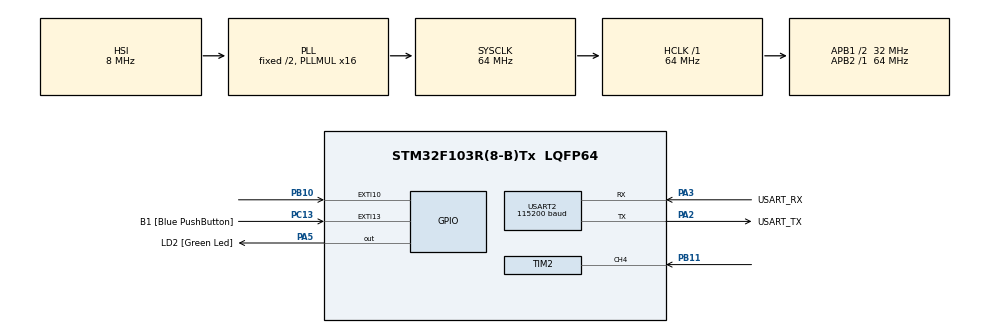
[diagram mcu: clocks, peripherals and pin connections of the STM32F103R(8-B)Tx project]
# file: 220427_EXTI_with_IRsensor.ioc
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Mcu.Family=STM32F1
Mcu.Name=STM32F103R(8-B)Tx
Mcu.Package=LQFP64
NVIC.EXTI15_10_IRQn=true\:0\:0\:false\:false\:true\:true\:true\:true
NVIC.PriorityGroup=NVIC_PRIORITYGROUP_4
NVIC.TIM2_IRQn=true\:0\:0\:false\:false\:true\:true\:true\:true
PA13.GPIO_Label=TMS
PA13.Mode=Serial_Wire
PA13.Signal=SYS_JTMS-SWDIO
PA14.GPIO_Label=TCK
PA14.Mode=Serial_Wire
PA14.Signal=SYS_JTCK-SWCLK
PA2.GPIO_Label=USART_TX
PA2.GPIO_Mode=GPIO_MODE_AF_PP
PA2.GPIO_PuPd=GPIO_NOPULL
PA2.GPIO_Speed=GPIO_SPEED_FREQ_LOW
PA2.Mode=Asynchronous
PA2.Signal=USART2_TX
PA3.GPIO_Label=USART_RX
PA3.GPIO_Mode=GPIO_MODE_AF_PP
PA3.GPIO_PuPd=GPIO_NOPULL
PA3.GPIO_Speed=GPIO_SPEED_FREQ_LOW
PA3.Mode=Asynchronous
PA3.Signal=USART2_RX
PA5.GPIO_Label=LD2 [Green Led]
PA5.GPIO_ModeDefaultOutputPP=GPIO_MODE_OUTPUT_PP
PA5.GPIO_PuPd=GPIO_NOPULL
PA5.GPIO_Speed=GPIO_SPEED_FREQ_LOW
PA5.Signal=GPIO_Output
PB10.GPIO_ModeDefaultEXTI=GPIO_MODE_IT_FALLING
PB10.Signal=GPXTI10
PB11.Signal=S_TIM2_CH4
PB3.GPIO_Label=SWO
PB3.Signal=SYS_JTDO-TRACESWO
PC13-TAMPER-RTC.GPIO_Label=B1 [Blue PushButton]
PC13-TAMPER-RTC.GPIO_PuPd=GPIO_NOPULL
PC13-TAMPER-RTC.Signal=GPXTI13
PC14-OSC32_IN.Mode=LSE-External-Oscillator
PC14-OSC32_IN.Signal=RCC_OSC32_IN
PC15-OSC32_OUT.Mode=LSE-External-Oscillator
PC15-OSC32_OUT.Signal=RCC_OSC32_OUT
PD0-OSC_IN.Mode=HSE-External-Clock-Source
PD0-OSC_IN.Signal=RCC_OSC_IN
PD1-OSC_OUT.Mode=HSE-External-Clock-Source
PD1-OSC_OUT.Signal=RCC_OSC_OUT
ProjectManager.HeapSize=0x200
ProjectManager.StackSize=0x400
ProjectManager.TargetToolchain=STM32CubeIDE
RCC.AHBFreq_Value=64000000
RCC.APB1CLKDivider=RCC_HCLK_DIV2
RCC.APB1Freq_Value=32000000
RCC.APB1TimFreq_Value=64000000
RCC.APB2Freq_Value=64000000
RCC.APB2TimFreq_Value=64000000
RCC.HCLKFreq_Value=64000000
RCC.PLLMUL=RCC_PLL_MUL16
RCC.RTCClockSelection=RCC_RTCCLKSOURCE_LSE
RCC.SYSCLKFreq_VALUE=64000000
RCC.SYSCLKSource=RCC_SYSCLKSOURCE_PLLCLK
RCC.USBFreq_Value=64000000
SH.S_TIM2_CH4.0=TIM2_CH4,Input_Capture4_from_TI4
TIM2.Channel-Input_Capture4_from_TI4=TIM_CHANNEL_4
TIM2.ICPolarity_CH4=TIM_INPUTCHANNELPOLARITY_FALLING
TIM2.Period=40000-1
TIM2.Prescaler=64-1
USART2.BaudRate=115200
USART2.VirtualMode=VM_ASYNC
board=NUCLEO-F103RB

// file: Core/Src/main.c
/* USER CODE BEGIN Header */
/**
  ******************************************************************************
  * @file           : main.c
  * @brief          : Main program body
  ******************************************************************************
  * @attention
  *
  * Copyright (c) 2022 STMicroelectronics.
  * All rights reserved.
  *
  * This software is licensed under terms that can be found in the LICENSE file
  * in the root directory of this software component.
  * If no LICENSE file comes with this software, it is provided AS-IS.
  *
  ******************************************************************************
  */
/* USER CODE END Header */
#include "main.h"

/* USER CODE BEGIN PTD */
#ifdef __GNUC__
/* With GCC, small printf (option LD Linker->Libraries->Small printf
   set to 'Yes') calls __io_putchar() */
#define PUTCHAR_PROTOTYPE int __io_putchar(int ch)
#else
#define PUTCHAR_PROTOTYPE int fputc(int ch, FILE *f)
#endif /* __GNUC__ */
/* USER CODE END PTD */

 TIM_HandleTypeDef htim2;

UART_HandleTypeDef huart2;

void SystemClock_Config(void);
static void MX_GPIO_Init(void);
static void MX_USART2_UART_Init(void);
static void MX_TIM2_Init(void);

/* USER CODE BEGIN 0 */
int IC1,IC2=0;
int idx = 0;
uint32_t data =0;
float time = 0;
/* USER CODE END 0 */

int main(void)
{

  /* MCU Configuration--------------------------------------------------------*/

  /* Reset of all peripherals, Initializes the Flash interface and the Systick. */
  HAL_Init();

  /* Configure the system clock */
  SystemClock_Config();

  /* Initialize all configured peripherals */
  MX_GPIO_Init();
  MX_USART2_UART_Init();
  MX_TIM2_Init();
  /* USER CODE BEGIN 2 */
  HAL_TIM_IC_Start_IT(&htim2, TIM_CHANNEL_4);
  /* USER CODE END 2 */

  /* Infinite loop */
  while (1)
  {

  }
}

void SystemClock_Config(void)
{
  RCC_OscInitTypeDef RCC_OscInitStruct = {0};
  RCC_ClkInitTypeDef RCC_ClkInitStruct = {0};

  /** Initializes the RCC Oscillators according to the specified parameters
  * in the RCC_OscInitTypeDef structure.
  */
  RCC_OscInitStruct.OscillatorType = RCC_OSCILLATORTYPE_HSI;
  RCC_OscInitStruct.HSIState = RCC_HSI_ON;
  RCC_OscInitStruct.HSICalibrationValue = RCC_HSICALIBRATION_DEFAULT;
  RCC_OscInitStruct.PLL.PLLState = RCC_PLL_ON;
  RCC_OscInitStruct.PLL.PLLSource = RCC_PLLSOURCE_HSI_DIV2;
  RCC_OscInitStruct.PLL.PLLMUL = RCC_PLL_MUL16;
  if (HAL_RCC_OscConfig(&RCC_OscInitStruct) != HAL_OK)
  {
    Error_Handler();
  }

  /** Initializes the CPU, AHB and APB buses clocks
  */
  RCC_ClkInitStruct.ClockType = RCC_CLOCKTYPE_HCLK|RCC_CLOCKTYPE_SYSCLK
                              |RCC_CLOCKTYPE_PCLK1|RCC_CLOCKTYPE_PCLK2;
  RCC_ClkInitStruct.SYSCLKSource = RCC_SYSCLKSOURCE_PLLCLK;
  RCC_ClkInitStruct.AHBCLKDivider = RCC_SYSCLK_DIV1;
  RCC_ClkInitStruct.APB1CLKDivider = RCC_HCLK_DIV2;
  RCC_ClkInitStruct.APB2CLKDivider = RCC_HCLK_DIV1;

  if (HAL_RCC_ClockConfig(&RCC_ClkInitStruct, FLASH_LATENCY_2) != HAL_OK)
  {
    Error_Handler();
  }
}

static void MX_TIM2_Init(void)
{

  TIM_MasterConfigTypeDef sMasterConfig = {0};
  TIM_IC_InitTypeDef sConfigIC = {0};

  htim2.Instance = TIM2;
  htim2.Init.Prescaler = 64-1;
  htim2.Init.CounterMode = TIM_COUNTERMODE_UP;
  htim2.Init.Period = 40000-1;
  htim2.Init.ClockDivision = TIM_CLOCKDIVISION_DIV1;
  htim2.Init.AutoReloadPreload = TIM_AUTORELOAD_PRELOAD_DISABLE;
  if (HAL_TIM_IC_Init(&htim2) != HAL_OK)
  {
    Error_Handler();
  }
  sMasterConfig.MasterOutputTrigger = TIM_TRGO_RESET;
  sMasterConfig.MasterSlaveMode = TIM_MASTERSLAVEMODE_DISABLE;
  if (HAL_TIMEx_MasterConfigSynchronization(&htim2, &sMasterConfig) != HAL_OK)
  {
    Error_Handler();
  }
  sConfigIC.ICPolarity = TIM_INPUTCHANNELPOLARITY_FALLING;
  sConfigIC.ICSelection = TIM_ICSELECTION_DIRECTTI;
  sConfigIC.ICPrescaler = TIM_ICPSC_DIV1;
  sConfigIC.ICFilter = 0;
  if (HAL_TIM_IC_ConfigChannel(&htim2, &sConfigIC, TIM_CHANNEL_4) != HAL_OK)
  {
    Error_Handler();
  }

}

static void MX_USART2_UART_Init(void)
{

  huart2.Instance = USART2;
  huart2.Init.BaudRate = 115200;
  huart2.Init.WordLength = UART_WORDLENGTH_8B;
  huart2.Init.StopBits = UART_STOPBITS_1;
  huart2.Init.Parity = UART_PARITY_NONE;
  huart2.Init.Mode = UART_MODE_TX_RX;
  huart2.Init.HwFlowCtl = UART_HWCONTROL_NONE;
  huart2.Init.OverSampling = UART_OVERSAMPLING_16;
  if (HAL_UART_Init(&huart2) != HAL_OK)
  {
    Error_Handler();
  }

}

static void MX_GPIO_Init(void)
{
  GPIO_InitTypeDef GPIO_InitStruct = {0};

  /* GPIO Ports Clock Enable */
  __HAL_RCC_GPIOC_CLK_ENABLE();
  __HAL_RCC_GPIOD_CLK_ENABLE();
  __HAL_RCC_GPIOA_CLK_ENABLE();
  __HAL_RCC_GPIOB_CLK_ENABLE();

  /*Configure GPIO pin Output Level */
  HAL_GPIO_WritePin(LD2_GPIO_Port, LD2_Pin, GPIO_PIN_RESET);

  /*Configure GPIO pin : B1_Pin */
  GPIO_InitStruct.Pin = B1_Pin;
  GPIO_InitStruct.Mode = GPIO_MODE_IT_RISING;
  GPIO_InitStruct.Pull = GPIO_NOPULL;
  HAL_GPIO_Init(B1_GPIO_Port, &GPIO_InitStruct);

  /*Configure GPIO pin : LD2_Pin */
  GPIO_InitStruct.Pin = LD2_Pin;
  GPIO_InitStruct.Mode = GPIO_MODE_OUTPUT_PP;
  GPIO_InitStruct.Pull = GPIO_NOPULL;
  GPIO_InitStruct.Speed = GPIO_SPEED_FREQ_LOW;
  HAL_GPIO_Init(LD2_GPIO_Port, &GPIO_InitStruct);

  /*Configure GPIO pin : PB10 */
  GPIO_InitStruct.Pin = GPIO_PIN_10;
  GPIO_InitStruct.Mode = GPIO_MODE_IT_FALLING;
  GPIO_InitStruct.Pull = GPIO_NOPULL;
  HAL_GPIO_Init(GPIOB, &GPIO_InitStruct);

  /* EXTI interrupt init*/
  HAL_NVIC_SetPriority(EXTI15_10_IRQn, 0, 0);
  HAL_NVIC_EnableIRQ(EXTI15_10_IRQn);

}

/* USER CODE BEGIN 4 */
PUTCHAR_PROTOTYPE
{
  /* Place your implementation of fputc here */
  /* e.g. write a character to the USART1 and Loop until the end of transmission */
  HAL_UART_Transmit(&huart2,(uint8_t *)&ch, 1, 0xFFFF);

  return ch;
}

/*void HAL_GPIO_EXTI_Callback(uint16_t GPIO_Pin){

	uint32_t time;
	if(GPIO_Pin == GPIO_PIN_0){

		if(Is_Start==0)
		{
			__HAL_TIM_SET_COUNTER(&htim2,0);//TIM2->CNT = 0;
			Is_Start == 1;
		}
		else{
			time = __HALTIM_GET_COUNTER(&htim2);
			__HAL_TIM_SET_COUNTER(&htim2,0);
			if(bitCount ==32){
				if(time>12500 && time<14500){
					receivedData =0;
					bitCount = 0;
				}
				else if(time>10500 && time < 12000){
					Is_Start = 0;
				}

				else{
					if(time>1600) receivedData = receivedData <<1 +1;
					else receivedData = receivedData <<1;

					if(bitCount == 31){
						printf("0x%0lx\n",receivedData);
						Is_Start = 0;
					}
					bitCount ++;
				}
			}
		}
	}

}*/

int isStart = 0;

void HAL_TIM_IC_CaptureCallback(TIM_HandleTypeDef *htim){

	if(IC1 == 0){
		IC1=TIM2->CCR4;
	}
	else{
		IC2=TIM2->CCR4;
		if(IC1>IC2){
			IC1-= 40000;
		}

		time = (IC2-IC1); // count * 1us
		IC1= IC2;

		if(time>12500&& time<14500){
			isStart = 1;
			data = 0;
			idx = 0;
		}

		else if (time<12000 && time >10500){
			isStart = 0;
			IC1 =0;
			idx = 0;
		}

		if(isStart ==1){
			if(time>1600){
				data = (data << 1) + 1;
				idx++;
			}
			else {
				data = data << 1;
				idx ++;
			}

			if(idx == 32){
				printf("0x%0lx\n\r", data);
				idx = 0;
				data =0;
				isStart =0;
			}
		}
	}

}

/* USER CODE END 4 */

void Error_Handler(void)
{
  __disable_irq();
  while (1)
  {
  }
}
